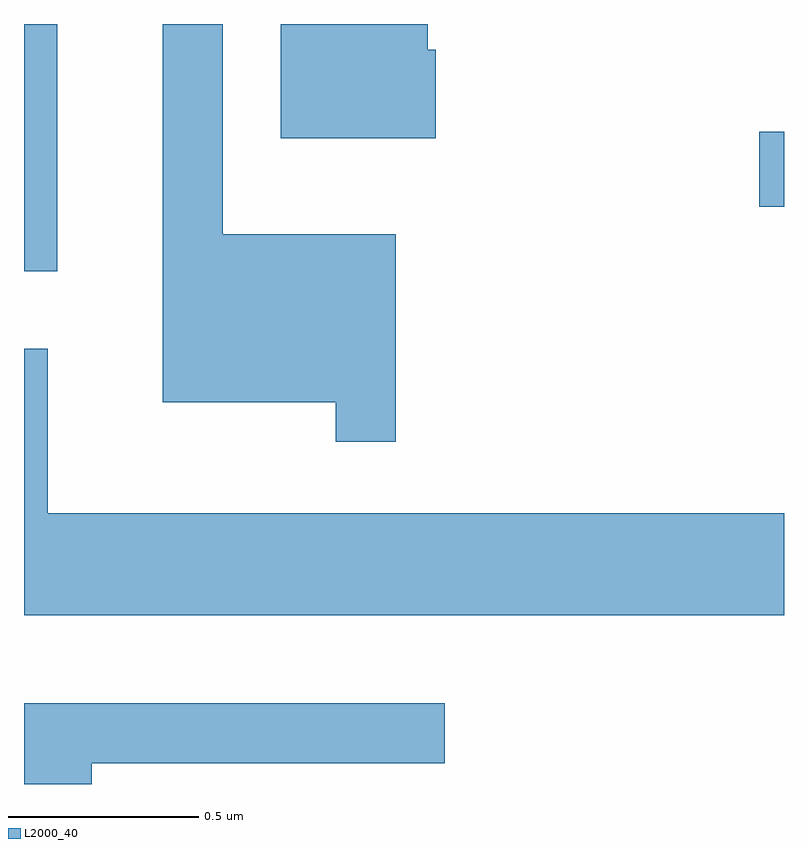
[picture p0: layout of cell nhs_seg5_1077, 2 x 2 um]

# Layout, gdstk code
import gdstk
lib = gdstk.Library(unit=1e-6, precision=1e-09)
def R(c, l, rs):  # rectangles x0, y0, x1, y1
    for r in rs: c.add(gdstk.rectangle(r[:2], r[2:], *l))
def P(c, l, *ps):  # polygons
    for p in ps: c.add(gdstk.Polygon(p, *l))
L2000_40 = (2000, 40)

nhs_seg5_1077 = lib.new_cell('nhs_seg5_1077')
R(nhs_seg5_1077, L2000_40, [(192.611,1515.421,192.699,1516.072), (194.546,1515.591,194.611,1515.789)])
P(nhs_seg5_1077, L2000_40, [(193.589,1515.519),(193.134,1515.519),(193.134,1516.072),(192.976,1516.072),(192.976,1515.076),(193.431,1515.076),(193.431,1514.973),(193.589,1514.973)],
  [(193.694,1516.004),(193.674,1516.004),(193.674,1516.072),(193.286,1516.072),(193.286,1515.771),(193.694,1515.771)],
  [(194.611,1514.784),(192.674,1514.784),(192.674,1515.218),(192.611,1515.218),(192.611,1514.516),(194.611,1514.516)],
  [(192.789,1514.126),(193.718,1514.126),(193.718,1514.284),(192.611,1514.284),(192.611,1514.072),(192.789,1514.072)])

lib.write_gds('nhs_seg5_1077.gds')
